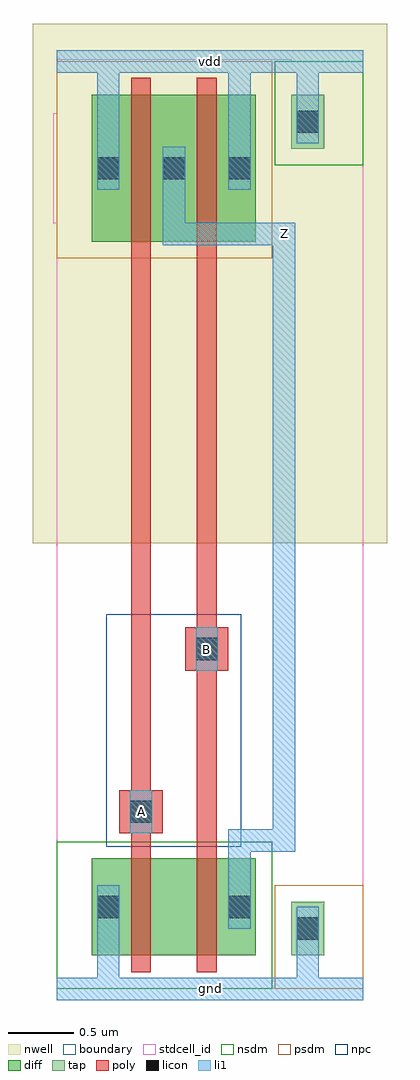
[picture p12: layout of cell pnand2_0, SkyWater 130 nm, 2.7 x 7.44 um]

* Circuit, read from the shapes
.subckt pnand2_0 A B Z gnd vdd
XM1 nmos_m1_w0_740_sli_dactive_2/D A gnd gnd sky130_fd_pr__nfet_01v8 w=0.74 l=0.15
XM2 Z B nmos_m1_w0_740_sli_dactive_2/D gnd sky130_fd_pr__nfet_01v8 w=0.74 l=0.15
XM3 Z A vdd vdd sky130_fd_pr__pfet_01v8 w=1.12 l=0.15
XM4 vdd B Z vdd sky130_fd_pr__pfet_01v8 w=1.12 l=0.15
.ends

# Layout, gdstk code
import gdstk
lib = gdstk.Library(unit=1e-6, precision=1e-09)
def R(c, l, rs):  # rectangles x0, y0, x1, y1
    for r in rs: c.add(gdstk.rectangle(r[:2], r[2:], *l))
nwell = (64, 20)
diff = (65, 20)
tap = (65, 44)
poly = (66, 20)
licon = (66, 44)
li1 = (67, 20)
stdcell_id = (81, 4)
nsdm = (93, 44)
psdm = (94, 20)
npc = (95, 20)
boundary = (235, 4)

contact_11 = lib.new_cell('contact_11')
R(contact_11, nwell, [(-0.295,-0.255,0.545,0.585)])
R(contact_11, diff, [(0,0.02,0.25,0.31)])
R(contact_11, licon, [(0.04,0.08,0.21,0.25)])
R(contact_11, li1, [(0.04,0,0.21,0.33)])
R(contact_11, stdcell_id, [(-0.295,-0.255,0.545,0.585)])
R(contact_11, psdm, [(-0.125,-0.105,0.375,0.435)])
R(contact_11, boundary, [(-0.295,-0.255,0.545,0.585)])

pmos_m1_w1_120_sli_dli = lib.new_cell('pmos_m1_w1_120_sli_dli')
R(pmos_m1_w1_120_sli_dli, nwell, [(-0.27,-0.27,1.02,1.39)])
R(pmos_m1_w1_120_sli_dli, diff, [(0,0,0.75,1.12)])
R(pmos_m1_w1_120_sli_dli, poly, [(0.3,-0.13,0.45,1.25), (0.3,-0.13,0.45,1.25)])
R(pmos_m1_w1_120_sli_dli, li1, [(0.04,0.395,0.21,0.725), (0.54,0.395,0.71,0.725)])
R(pmos_m1_w1_120_sli_dli, stdcell_id, [(-0.27,-0.27,1.02,1.39)])
R(pmos_m1_w1_120_sli_dli, psdm, [(-0.125,-0.125,0.875,1.245)])
R(pmos_m1_w1_120_sli_dli, boundary, [(-0.27,-0.27,1.02,1.39)])
pmos_m1_w1_120_sli_dli.add(gdstk.Reference(contact_11, (0,0.395)))
pmos_m1_w1_120_sli_dli.add(gdstk.Reference(contact_11, (0.5,0.395)))
pmos_m1_w1_120_sli_dli.add(gdstk.Label('S', (0.125,0.56), layer=67, texttype=16))
pmos_m1_w1_120_sli_dli.add(gdstk.Label('G', (0.375,0.56), layer=66, texttype=16))
pmos_m1_w1_120_sli_dli.add(gdstk.Label('D', (0.625,0.56), layer=67, texttype=16))

contact_17 = lib.new_cell('contact_17')
R(contact_17, diff, [(0,0.02,0.25,0.31)])
R(contact_17, licon, [(0.04,0.08,0.21,0.25)])
R(contact_17, li1, [(0.04,0,0.21,0.33)])
R(contact_17, stdcell_id, [(-0.125,-0.105,0.375,0.435)])
R(contact_17, nsdm, [(-0.125,-0.105,0.375,0.435)])
R(contact_17, boundary, [(-0.125,-0.105,0.375,0.435)])

nmos_m1_w0_740_sli_dacti = lib.new_cell('nmos_m1_w0_740_sli_dactive')
R(nmos_m1_w0_740_sli_dacti, diff, [(0,0,0.75,0.74), (0.55,0.295,0.7,0.445)])
R(nmos_m1_w0_740_sli_dacti, poly, [(0.3,-0.13,0.45,0.87), (0.3,-0.13,0.45,0.87)])
R(nmos_m1_w0_740_sli_dacti, li1, [(0.04,0.205,0.21,0.535)])
R(nmos_m1_w0_740_sli_dacti, stdcell_id, [(-0.125,-0.13,0.875,0.87)])
R(nmos_m1_w0_740_sli_dacti, nsdm, [(-0.125,-0.125,0.875,0.865)])
R(nmos_m1_w0_740_sli_dacti, boundary, [(-0.125,-0.13,0.875,0.87)])
nmos_m1_w0_740_sli_dacti.add(gdstk.Reference(contact_17, (0,0.205)))
nmos_m1_w0_740_sli_dacti.add(gdstk.Label('S', (0.125,0.37), layer=67, texttype=16))
nmos_m1_w0_740_sli_dacti.add(gdstk.Label('G', (0.375,0.37), layer=66, texttype=16))
nmos_m1_w0_740_sli_dacti.add(gdstk.Label('D', (0.625,0.37), layer=65, texttype=16))

nmos_m1_w0_740_sactive_d = lib.new_cell('nmos_m1_w0_740_sactive_dli')
R(nmos_m1_w0_740_sactive_d, diff, [(0,0,0.75,0.74), (0.05,0.295,0.2,0.445)])
R(nmos_m1_w0_740_sactive_d, poly, [(0.3,-0.13,0.45,0.87), (0.3,-0.13,0.45,0.87)])
R(nmos_m1_w0_740_sactive_d, li1, [(0.54,0.205,0.71,0.535)])
R(nmos_m1_w0_740_sactive_d, stdcell_id, [(-0.125,-0.13,0.875,0.87)])
R(nmos_m1_w0_740_sactive_d, nsdm, [(-0.125,-0.125,0.875,0.865)])
R(nmos_m1_w0_740_sactive_d, boundary, [(-0.125,-0.13,0.875,0.87)])
nmos_m1_w0_740_sactive_d.add(gdstk.Reference(contact_17, (0.5,0.205)))
nmos_m1_w0_740_sactive_d.add(gdstk.Label('S', (0.125,0.37), layer=65, texttype=16))
nmos_m1_w0_740_sactive_d.add(gdstk.Label('G', (0.375,0.37), layer=66, texttype=16))
nmos_m1_w0_740_sactive_d.add(gdstk.Label('D', (0.625,0.37), layer=67, texttype=16))

contact_24 = lib.new_cell('contact_24')
R(contact_24, nwell, [(-0.295,-0.215,0.545,0.625)])
R(contact_24, tap, [(0,0,0.25,0.41)])
R(contact_24, licon, [(0.04,0.12,0.21,0.29)])
R(contact_24, li1, [(0.04,0.04,0.21,0.37)])
R(contact_24, stdcell_id, [(-0.295,-0.215,0.545,0.625)])
R(contact_24, nsdm, [(-0.125,-0.125,0.375,0.535)])
R(contact_24, boundary, [(-0.295,-0.215,0.545,0.625)])

contact_25 = lib.new_cell('contact_25')
R(contact_25, tap, [(0,0,0.25,0.41)])
R(contact_25, licon, [(0.04,0.12,0.21,0.29)])
R(contact_25, li1, [(0.04,0.04,0.21,0.37)])
R(contact_25, stdcell_id, [(-0.125,-0.125,0.375,0.535)])
R(contact_25, psdm, [(-0.125,-0.125,0.375,0.535)])
R(contact_25, boundary, [(-0.125,-0.125,0.375,0.535)])

contact_12 = lib.new_cell('contact_12')
R(contact_12, poly, [(0,0,0.33,0.33)])
R(contact_12, licon, [(0.08,0.08,0.25,0.25)])
R(contact_12, li1, [(0.08,0,0.25,0.33)])
R(contact_12, stdcell_id, [(-0.1,-0.1,0.43,0.43)])
R(contact_12, npc, [(-0.1,-0.1,0.43,0.43)])
R(contact_12, boundary, [(-0.1,-0.1,0.43,0.43)])

pnand2_0 = lib.new_cell('pnand2_0')
R(pnand2_0, nwell, [(-0.18,3.395,2.52,7.355)])
R(pnand2_0, poly, [(0.57,1.125,0.72,5.565), (1.07,1.125,1.22,5.565), (0.57,1.185,0.645,1.515), (1.07,2.425,1.145,2.755)])
R(pnand2_0, li1, [(0,-0.085,2.34,0.085), (0.31,-0.085,0.48,0.46), (1.83,0,2,0.46), (1.31,0.79,1.48,1.13), (1.31,1.045,1.48,1.215), (1.395,1.045,1.735,1.215), (1.65,1.045,1.82,1.215), (1.65,1.13,1.82,5.755), (0.56,1.185,0.73,1.515), (1.06,2.425,1.23,2.755), (0.81,5.67,0.98,5.84), (0.895,5.67,1.735,5.84), (1.65,5.67,1.82,5.84), (0.81,5.755,0.98,6.09), (0.31,6.09,0.48,7.155), (1.31,6.09,1.48,7.155), (1.83,6.61,2,7.07), (0,6.985,2.34,7.155)])
R(pnand2_0, stdcell_id, [(0,0,2.34,7.07), (0,0,2.34,7.07)])
R(pnand2_0, nsdm, [(0,0,1.645,1.12), (1.665,6.28,2.34,7.07)])
R(pnand2_0, psdm, [(1.665,0,2.34,0.79), (0,5.57,1.645,7.07)])
R(pnand2_0, npc, [(0.38,1.085,1.41,2.855)])
R(pnand2_0, boundary, [(0,0,2.34,7.07), (0,0,2.34,7.07)])
pnand2_0.add(gdstk.Reference(pmos_m1_w1_120_sli_dli, (0.27,5.695)))
pnand2_0.add(gdstk.Reference(pmos_m1_w1_120_sli_dli, (0.77,5.695)))
pnand2_0.add(gdstk.Reference(nmos_m1_w0_740_sli_dacti, (0.27,0.255)))
pnand2_0.add(gdstk.Reference(nmos_m1_w0_740_sactive_d, (0.77,0.255)))
pnand2_0.add(gdstk.Reference(contact_24, (1.79,6.405)))
pnand2_0.add(gdstk.Reference(contact_25, (1.79,0.255)))
pnand2_0.add(gdstk.Reference(contact_12, (0.48,1.185)))
pnand2_0.add(gdstk.Reference(contact_12, (0.98,2.425)))
pnand2_0.add(gdstk.Label('gnd', (1.17,0), layer=67, texttype=16))
pnand2_0.add(gdstk.Label('Z', (1.735,5.755), layer=67, texttype=16))
pnand2_0.add(gdstk.Label('vdd', (1.17,7.07), layer=67, texttype=16))
pnand2_0.add(gdstk.Label('A', (0.645,1.35), layer=67, texttype=16))
pnand2_0.add(gdstk.Label('B', (1.145,2.59), layer=67, texttype=16))

lib.write_gds('pnand2_0.gds')
